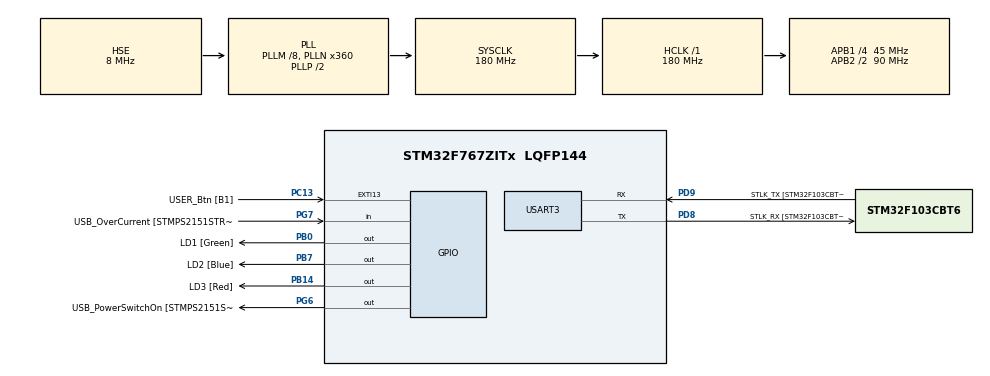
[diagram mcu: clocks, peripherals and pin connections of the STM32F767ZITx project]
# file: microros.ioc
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Dma.Request0=USART3_RX
Dma.Request1=USART3_TX
Dma.USART3_RX.0.Direction=DMA_PERIPH_TO_MEMORY
Dma.USART3_RX.0.FIFOMode=DMA_FIFOMODE_DISABLE
Dma.USART3_RX.0.Instance=DMA1_Stream1
Dma.USART3_RX.0.MemDataAlignment=DMA_MDATAALIGN_BYTE
Dma.USART3_RX.0.MemInc=DMA_MINC_ENABLE
Dma.USART3_RX.0.Mode=DMA_CIRCULAR
Dma.USART3_RX.0.PeriphDataAlignment=DMA_PDATAALIGN_BYTE
Dma.USART3_RX.0.PeriphInc=DMA_PINC_DISABLE
Dma.USART3_RX.0.Priority=DMA_PRIORITY_VERY_HIGH
Dma.USART3_TX.1.Direction=DMA_MEMORY_TO_PERIPH
Dma.USART3_TX.1.FIFOMode=DMA_FIFOMODE_DISABLE
Dma.USART3_TX.1.Instance=DMA1_Stream3
Dma.USART3_TX.1.MemDataAlignment=DMA_MDATAALIGN_BYTE
Dma.USART3_TX.1.MemInc=DMA_MINC_ENABLE
Dma.USART3_TX.1.Mode=DMA_NORMAL
Dma.USART3_TX.1.PeriphDataAlignment=DMA_PDATAALIGN_BYTE
Dma.USART3_TX.1.PeriphInc=DMA_PINC_DISABLE
Dma.USART3_TX.1.Priority=DMA_PRIORITY_VERY_HIGH
FREERTOS.Tasks01=defaultTask,24,3000,StartDefaultTask,Default,NULL,Static,defaultTaskBuffer,defaultTaskControlBlock
FREERTOS.configUSE_NEWLIB_REENTRANT=1
Mcu.Family=STM32F7
Mcu.Name=STM32F767ZITx
Mcu.Package=LQFP144
NVIC.DMA1_Stream1_IRQn=true\:5\:0\:false\:false\:true\:true\:false\:true\:true
NVIC.DMA1_Stream3_IRQn=true\:5\:0\:false\:false\:true\:true\:false\:true\:true
NVIC.PriorityGroup=NVIC_PRIORITYGROUP_4
NVIC.TIM1_UP_TIM10_IRQn=true\:15\:0\:false\:false\:true\:false\:false\:true\:true
NVIC.TimeBase=TIM1_UP_TIM10_IRQn
NVIC.TimeBaseIP=TIM1
NVIC.USART3_IRQn=true\:5\:0\:false\:false\:true\:true\:true\:true\:true
PA1.GPIO_Label=RMII_REF_CLK [LAN8742A-CZ-TR_REFCLK0]
PA1.Signal=ETH_REF_CLK
PA10.GPIO_Label=USB_ID
PA10.Signal=USB_OTG_FS_ID
PA11.GPIO_Label=USB_DM
PA11.Signal=USB_OTG_FS_DM
PA12.GPIO_Label=USB_DP
PA12.Signal=USB_OTG_FS_DP
PA13.GPIO_Label=TMS
PA13.Signal=SYS_JTMS-SWDIO
PA14.GPIO_Label=TCK
PA14.Signal=SYS_JTCK-SWCLK
PA2.GPIO_Label=RMII_MDIO [LAN8742A-CZ-TR_MDIO]
PA2.Signal=ETH_MDIO
PA7.GPIO_Label=RMII_CRS_DV [LAN8742A-CZ-TR_CRS_DV]
PA7.Signal=ETH_CRS_DV
PA8.GPIO_Label=USB_SOF [TP1]
PA8.Signal=USB_OTG_FS_SOF
PA9.GPIO_Label=USB_VBUS
PA9.Signal=USB_OTG_FS_VBUS
PB0.GPIO_Label=LD1 [Green]
PB0.Signal=GPIO_Output
PB13.GPIO_Label=RMII_TXD1 [LAN8742A-CZ-TR_TXD1]
PB13.Signal=ETH_TXD1
PB14.GPIO_Label=LD3 [Red]
PB14.Signal=GPIO_Output
PB3.GPIO_Label=SW0
PB3.Signal=SYS_JTDO-SWO
PB7.GPIO_Label=LD2 [Blue]
PB7.Signal=GPIO_Output
PC1.GPIO_Label=RMII_MDC [LAN8742A-CZ-TR_MDC]
PC1.Signal=ETH_MDC
PC13.GPIO_Label=USER_Btn [B1]
PC13.Signal=GPXTI13
PC14/OSC32_IN.Signal=RCC_OSC32_IN
PC15/OSC32_OUT.Signal=RCC_OSC32_OUT
PC4.GPIO_Label=RMII_RXD0 [LAN8742A-CZ-TR_RXD0]
PC4.Signal=ETH_RXD0
PC5.GPIO_Label=RMII_RXD1 [LAN8742A-CZ-TR_RXD1]
PC5.Signal=ETH_RXD1
PD8.GPIO_Label=STLK_RX [STM32F103CBT6_PA3]
PD8.Mode=Asynchronous
PD8.Signal=USART3_TX
PD9.GPIO_Label=STLK_TX [STM32F103CBT6_PA2]
PD9.Mode=Asynchronous
PD9.Signal=USART3_RX
PG11.GPIO_Label=RMII_TX_EN [LAN8742A-CZ-TR_TXEN]
PG11.Signal=ETH_TX_EN
PG13.GPIO_Label=RMII_TXD0 [LAN8742A-CZ-TR_TXD0]
PG13.Signal=ETH_TXD0
PG6.GPIO_Label=USB_PowerSwitchOn [STMPS2151STR_EN]
PG6.Signal=GPIO_Output
PG7.GPIO_Label=USB_OverCurrent [STMPS2151STR_FAULT]
PG7.Signal=GPIO_Input
PH0/OSC_IN.GPIO_Label=MCO [STM32F103CBT6_PA8]
PH0/OSC_IN.Mode=HSE-External-Oscillator
PH0/OSC_IN.Signal=RCC_OSC_IN
PH1/OSC_OUT.Mode=HSE-External-Oscillator
PH1/OSC_OUT.Signal=RCC_OSC_OUT
ProjectManager.HeapSize=0x200
ProjectManager.StackSize=0x400
ProjectManager.TargetToolchain=STM32CubeIDE
RCC.48MHZClocksFreq_Value=24000000
RCC.AHBFreq_Value=180000000
RCC.APB1CLKDivider=RCC_HCLK_DIV4
RCC.APB1Freq_Value=45000000
RCC.APB1TimFreq_Value=90000000
RCC.APB2CLKDivider=RCC_HCLK_DIV2
RCC.APB2Freq_Value=90000000
RCC.APB2TimFreq_Value=180000000
RCC.CortexFreq_Value=180000000
RCC.HCLKFreq_Value=180000000
RCC.HSE_VALUE=8000000
RCC.HSI_VALUE=16000000
RCC.LSE_VALUE=32768
RCC.PLLM=8
RCC.PLLMUL=RCC_PLL_MUL9
RCC.PLLN=360
RCC.PLLSourceVirtual=RCC_PLLSOURCE_HSE
RCC.PRESCALERUSB=RCC_USBCLKSOURCE_PLL_DIV1_5
RCC.SYSCLKFreq_VALUE=180000000
RCC.SYSCLKSource=RCC_SYSCLKSOURCE_PLLCLK
RCC.SYSCLKSourceVirtual=RCC_SYSCLKSOURCE_PLLCLK
RCC.USBFreq_Value=180000000
RCC.VCOOutputFreq_Value=360000000
USART3.VirtualMode-Asynchronous=VM_ASYNC
VP_FREERTOS_VS_CMSIS_V2.Mode=CMSIS_V2
VP_SYS_VS_tim1.Mode=TIM1
board=NUCLEO-F767ZI

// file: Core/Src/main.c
/* USER CODE BEGIN Header */
/**
  ******************************************************************************
  * @file           : main.c
  * @brief          : Main program body
  ******************************************************************************
  * @attention
  *
  * Copyright (c) 2023 STMicroelectronics.
  * All rights reserved.
  *
  * This software is licensed under terms that can be found in the LICENSE file
  * in the root directory of this software component.
  * If no LICENSE file comes with this software, it is provided AS-IS.
  *
  ******************************************************************************
  */
/* USER CODE END Header */
#include "main.h"
#include "cmsis_os.h"
#include "dma.h"
#include "usart.h"
#include "gpio.h"

void SystemClock_Config(void);
void MX_FREERTOS_Init(void);

int main(void)
{

  /* MCU Configuration--------------------------------------------------------*/

  /* Reset of all peripherals, Initializes the Flash interface and the Systick. */
  HAL_Init();

  /* Configure the system clock */
  SystemClock_Config();

  /* Initialize all configured peripherals */
  MX_GPIO_Init();
  MX_DMA_Init();
  MX_USART3_UART_Init();

  /* Init scheduler */
  osKernelInitialize();  /* Call init function for freertos objects (in freertos.c) */
  MX_FREERTOS_Init();

  /* Start scheduler */
  osKernelStart();

  /* We should never get here as control is now taken by the scheduler */
  /* Infinite loop */
  while (1)
  {

  }
}

void SystemClock_Config(void)
{
  RCC_OscInitTypeDef RCC_OscInitStruct = {0};
  RCC_ClkInitTypeDef RCC_ClkInitStruct = {0};

  /** Configure the main internal regulator output voltage
  */
  __HAL_RCC_PWR_CLK_ENABLE();
  __HAL_PWR_VOLTAGESCALING_CONFIG(PWR_REGULATOR_VOLTAGE_SCALE1);

  /** Initializes the RCC Oscillators according to the specified parameters
  * in the RCC_OscInitTypeDef structure.
  */
  RCC_OscInitStruct.OscillatorType = RCC_OSCILLATORTYPE_HSE;
  RCC_OscInitStruct.HSEState = RCC_HSE_ON;
  RCC_OscInitStruct.PLL.PLLState = RCC_PLL_ON;
  RCC_OscInitStruct.PLL.PLLSource = RCC_PLLSOURCE_HSE;
  RCC_OscInitStruct.PLL.PLLM = 8;
  RCC_OscInitStruct.PLL.PLLN = 360;
  RCC_OscInitStruct.PLL.PLLP = RCC_PLLP_DIV2;
  RCC_OscInitStruct.PLL.PLLQ = 2;
  RCC_OscInitStruct.PLL.PLLR = 2;
  if (HAL_RCC_OscConfig(&RCC_OscInitStruct) != HAL_OK)
  {
    Error_Handler();
  }

  /** Initializes the CPU, AHB and APB buses clocks
  */
  RCC_ClkInitStruct.ClockType = RCC_CLOCKTYPE_HCLK|RCC_CLOCKTYPE_SYSCLK
                              |RCC_CLOCKTYPE_PCLK1|RCC_CLOCKTYPE_PCLK2;
  RCC_ClkInitStruct.SYSCLKSource = RCC_SYSCLKSOURCE_PLLCLK;
  RCC_ClkInitStruct.AHBCLKDivider = RCC_SYSCLK_DIV1;
  RCC_ClkInitStruct.APB1CLKDivider = RCC_HCLK_DIV4;
  RCC_ClkInitStruct.APB2CLKDivider = RCC_HCLK_DIV2;

  if (HAL_RCC_ClockConfig(&RCC_ClkInitStruct, FLASH_LATENCY_5) != HAL_OK)
  {
    Error_Handler();
  }
}

void HAL_TIM_PeriodElapsedCallback(TIM_HandleTypeDef *htim)
{
  if (htim->Instance == TIM1) {
    HAL_IncTick();
  }
}

void Error_Handler(void)
{
  __disable_irq();
  while (1)
  {
  }
}

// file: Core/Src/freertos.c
/* USER CODE BEGIN Header */
/**
  ******************************************************************************
  * File Name          : freertos.c
  * Description        : Code for freertos applications
  ******************************************************************************
  * @attention
  *
  * Copyright (c) 2023 STMicroelectronics.
  * All rights reserved.
  *
  * This software is licensed under terms that can be found in the LICENSE file
  * in the root directory of this software component.
  * If no LICENSE file comes with this software, it is provided AS-IS.
  *
  ******************************************************************************
  */
/* USER CODE END Header */

#include "FreeRTOS.h"
#include "task.h"
#include "main.h"
#include "cmsis_os.h"

/* USER CODE BEGIN Includes */
#include <stdio.h>
#include <stdbool.h>
#include <rcl/rcl.h>
#include <rcl/error_handling.h>
#include <rclc/rclc.h>
#include <rclc/executor.h>
#include <uxr/client/transport.h>
#include <rmw_microxrcedds_c/config.h>
#include <rmw_microros/rmw_microros.h>

#include <std_msgs/msg/int32.h>
#include <geometry_msgs/msg/twist.h>
#include "usart.h"
/* USER CODE END Includes */

typedef StaticTask_t osStaticThreadDef_t;

/* Definitions for defaultTask */
osThreadId_t defaultTaskHandle;
uint32_t defaultTaskBuffer[ 3000 ];
osStaticThreadDef_t defaultTaskControlBlock;
const osThreadAttr_t defaultTask_attributes = {
  .name = "defaultTask",
  .cb_mem = &defaultTaskControlBlock,
  .cb_size = sizeof(defaultTaskControlBlock),
  .stack_mem = &defaultTaskBuffer[0],
  .stack_size = sizeof(defaultTaskBuffer),
  .priority = (osPriority_t) osPriorityNormal,
};

/* USER CODE BEGIN FunctionPrototypes */
bool cubemx_transport_open(struct uxrCustomTransport * transport);
bool cubemx_transport_close(struct uxrCustomTransport * transport);
size_t cubemx_transport_write(struct uxrCustomTransport* transport, const uint8_t * buf, size_t len, uint8_t * err);
size_t cubemx_transport_read(struct uxrCustomTransport* transport, uint8_t* buf, size_t len, int timeout, uint8_t* err);

void * microros_allocate(size_t size, void * state);
void microros_deallocate(void * pointer, void * state);
void * microros_reallocate(void * pointer, size_t size, void * state);
void * microros_zero_allocate(size_t number_of_elements, size_t size_of_element, void * state);

/* USER CODE END FunctionPrototypes */

void StartDefaultTask(void *argument);

void MX_FREERTOS_Init(void); /* (MISRA C 2004 rule 8.1) */

void MX_FREERTOS_Init(void) {

  /* Create the thread(s) */
  /* creation of defaultTask */
  defaultTaskHandle = osThreadNew(StartDefaultTask, NULL, &defaultTask_attributes);

}

/* USER CODE BEGIN StartDefaultTask */
void error_loop(){}

#define RCCHECK(fn) { rcl_ret_t temp_rc = fn; if((temp_rc != RCL_RET_OK)){error_loop();}}
#define RCSOFTCHECK(fn) { rcl_ret_t temp_rc = fn; if((temp_rc != RCL_RET_OK)){error_loop();}}

void subscription_callback(const void *msgin) {
  const geometry_msgs__msg__Twist * msg = (const geometry_msgs__msg__Twist *)msgin;

//  HAL_DAC_SetValue(&hdac, DAC_CHANNEL_1, DAC_ALIGN_12B_R, msg->linear.x);
}

//uint32_t dac_value = 0;
//  for (dac_value = 250; dac_value <= 350; dac_value += 1) {
//      HAL_DAC_SetValue(&hdac, DAC_CHANNEL_1, DAC_ALIGN_12B_R, dac_value);
//      HAL_Delay(200);
//  }
//
//  for (dac_value = 350; dac_value >= 250; dac_value -= 1) {
//	  HAL_DAC_SetValue(&hdac, DAC_CHANNEL_1, DAC_ALIGN_12B_R, dac_value);
//	  HAL_Delay(200);
//  }

void StartDefaultTask(void *argument)
{

  // micro-ROS configuration

  rmw_uros_set_custom_transport(
    true,
    (void *) &huart3,
    cubemx_transport_open,
    cubemx_transport_close,
    cubemx_transport_write,
    cubemx_transport_read);

  rcl_allocator_t freeRTOS_allocator = rcutils_get_zero_initialized_allocator();
  freeRTOS_allocator.allocate = microros_allocate;
  freeRTOS_allocator.deallocate = microros_deallocate;
  freeRTOS_allocator.reallocate = microros_reallocate;
  freeRTOS_allocator.zero_allocate =  microros_zero_allocate;

  if (!rcutils_set_default_allocator(&freeRTOS_allocator)) {
      printf("Error on default allocators (line %d)\n", __LINE__);
  }

  // micro-ROS app

  	  rcl_subscription_t subscriber;
  	  geometry_msgs__msg__Twist msg;
  	  rclc_executor_t executor;
  	  rcl_allocator_t allocator;
  	  rclc_support_t support;
  	  rcl_node_t node;

  	  allocator = rcl_get_default_allocator();

  	  //create init_options
  	  RCCHECK(rclc_support_init(&support, 0, NULL, &allocator));

  	// create node
  	  RCCHECK(rclc_node_init_default(&node, "velocity_node", "", &support));

  	// create subscriber
  	  RCCHECK(rclc_subscription_init_default(
  			  &subscriber,
			  &node,
			  ROSIDL_GET_MSG_TYPE_SUPPORT(geometry_msgs, msg, Twist),
			  "cmd_vel"));

  	  // create executor
  	  RCCHECK(rclc_executor_init(&executor, &support.context, 1, &allocator));
  	  RCCHECK(rclc_executor_add_subscription(&executor, &subscriber, &msg, &subscription_callback, ON_NEW_DATA));
  	  /* USER CODE END StartDefaultTask */
}
